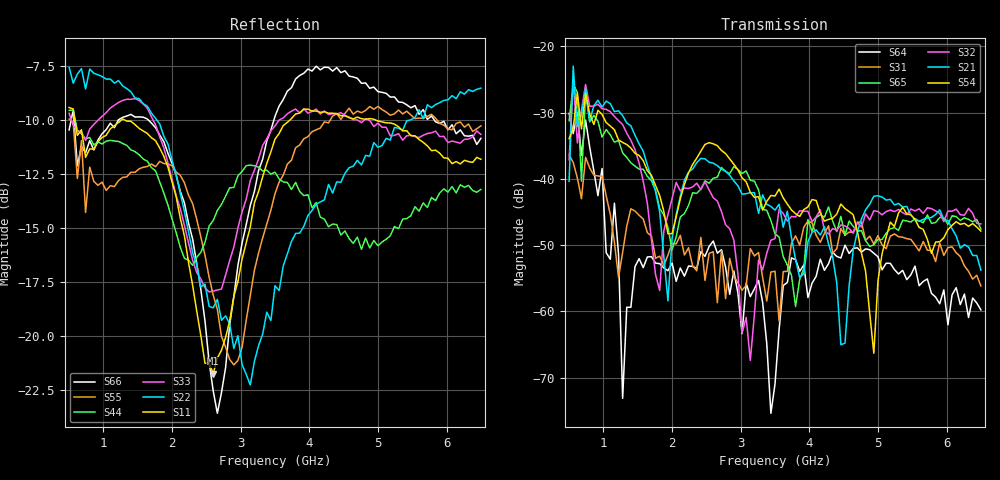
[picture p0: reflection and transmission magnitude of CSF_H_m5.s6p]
!Keysight Technologies,M9804A,MY58100912,A.14.10.03
!Date: Thursday, April 27, 2023 10:28:33
!Correction: S11(C  6-Port  )
!S12(C  6-Port  )
!S13(C  6-Port  )
!S14(C  6-Port  )
!S15(C  6-Port  )
!S16(C  6-Port  )
!S21(C  6-Port  )
!S22(C  6-Port  )
!S23(C  6-Port  )
!S24(C  6-Port  )
!S25(C  6-Port  )
!S26(C  6-Port  )
!S31(C  6-Port  )
!S32(C  6-Port  )
!S33(C  6-Port  )
!S34(C  6-Port  )
!S35(C  6-Port  )
!S36(C  6-Port  )
!S41(C  6-Port  )
!S42(C  6-Port  )
!S43(C  6-Port  )
!S44(C  6-Port  )
!S45(C  6-Port  )
!S46(C  6-Port  )
!S51(C  6-Port  )
!S52(C  6-Port  )
!S53(C  6-Port  )
!S54(C  6-Port  )
!S55(C  6-Port  )
!S56(C  6-Port  )
!S61(C  6-Port  )
!S62(C  6-Port  )
!S63(C  6-Port  )
!S64(C  6-Port  )
!S65(C  6-Port  )
!S66(C  6-Port  )
!S6P File: Measurement: :
# Hz S  RI  R 50
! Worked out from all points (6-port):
!   101 points, 500 MHz to 6.5 GHz, reference 50 ohm
!   strongest paths, dB at 500 MHz, 2 GHz, 3.5 GHz, 5 GHz, 6.5 GHz:
!     S54: -33.9, -48.3, -42.6, -55.4, -47.9
!     S21: -40.4, -49.0, -44.7, -42.5, -53.8
!     S32: -37.1, -43.0, -49.0, -44.9, -46.8
!     S65: -31.2, -50.7, -48.3, -49.2, -47.5
!     S31: -36.4, -49.7, -53.9, -48.6, -56.1
!     S64: -30.1, -52.7, -70.9, -51.7, -59.8
!   lowest |S11| = -21.7 dB at 2.6 GHz (marker M1), VSWR 1.18, Z = 42.7 + j1.99 ohm
!   |S11| at or under -10 dB: 584.9 MHz to 1.262 GHz (677.6 MHz wide, 73.4 % of centre); 1.31 GHz to 3.717 GHz (2.407 GHz wide, 95.8 % of centre); 4.967 GHz to end of sweep
